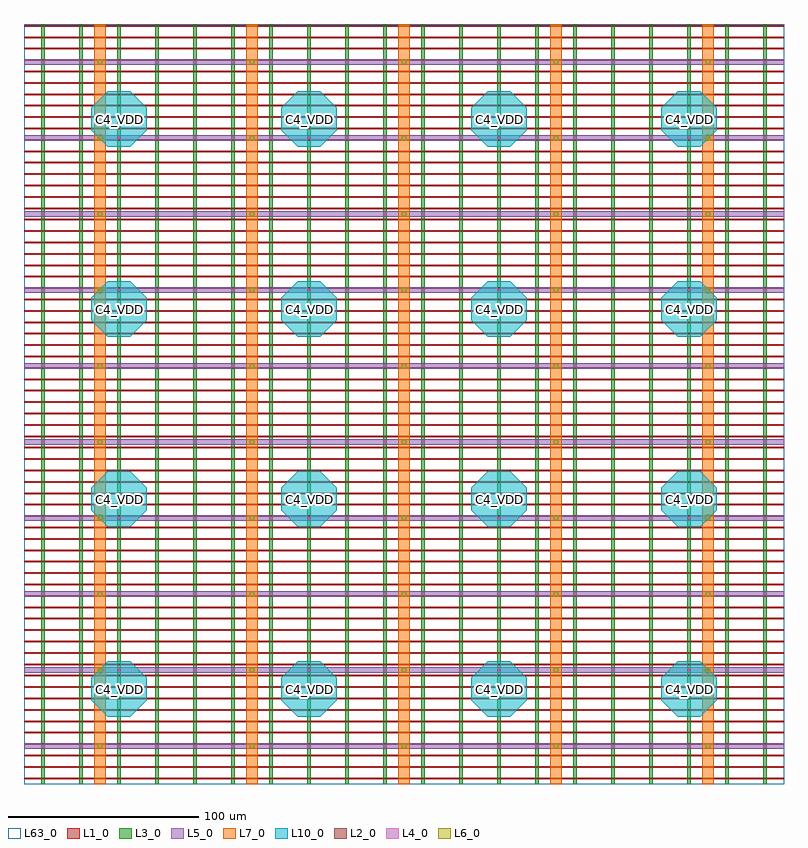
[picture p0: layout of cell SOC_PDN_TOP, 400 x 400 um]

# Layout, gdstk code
import gdstk
lib = gdstk.Library(unit=1e-6, precision=1e-09)
def R(c, l, rs):  # rectangles x0, y0, x1, y1
    for r in rs: c.add(gdstk.rectangle(r[:2], r[2:], *l))
def A(c, l, x, y, w, h, nx, ny, dx, dy):  # array of equal rectangles
    R(c, l, [(x+i*dx, y+j*dy, x+i*dx+w, y+j*dy+h) for i in range(nx) for j in range(ny)])
def P(c, l, *ps):  # polygons
    for p in ps: c.add(gdstk.Polygon(p, *l))
L1_0 = (1, 0)
L2_0 = (2, 0)
L3_0 = (3, 0)
L4_0 = (4, 0)
L5_0 = (5, 0)
L6_0 = (6, 0)
L7_0 = (7, 0)
L10_0 = (10, 0)
L63_0 = (63, 0)

soc_pdn_top = lib.new_cell('SOC_PDN_TOP')
A(soc_pdn_top, L1_0, 0, 2.6, 400, 0.8, 1, 67, 0, 6)
A(soc_pdn_top, L2_0, 9.6, 2.6, 0.8, 0.8, 20, 67, 20, 6)
A(soc_pdn_top, L3_0, 9.1, 0, 1.8, 400, 20, 1, 20, 0)
A(soc_pdn_top, L4_0, 9.3, 19.3, 1.4, 1.4, 20, 10, 20, 40)
A(soc_pdn_top, L5_0, 0, 18.5, 400, 3, 1, 10, 0, 40)
A(soc_pdn_top, L6_0, 38.8, 18.8, 2.4, 2.4, 5, 10, 80, 40)
A(soc_pdn_top, L7_0, 37, 0, 6, 400, 5, 1, 80, 0)
P(soc_pdn_top, L10_0, [(56,35.515),(64.485,44),(64.485,56),(56,64.485),(44,64.485),(35.515,56),(35.515,44),(44,35.515)],
  [(56,135.515),(64.485,144),(64.485,156),(56,164.485),(44,164.485),(35.515,156),(35.515,144),(44,135.515)],
  [(56,235.515),(64.485,244),(64.485,256),(56,264.485),(44,264.485),(35.515,256),(35.515,244),(44,235.515)],
  [(56,335.515),(64.485,344),(64.485,356),(56,364.485),(44,364.485),(35.515,356),(35.515,344),(44,335.515)],
  [(156,35.515),(164.485,44),(164.485,56),(156,64.485),(144,64.485),(135.515,56),(135.515,44),(144,35.515)],
  [(156,135.515),(164.485,144),(164.485,156),(156,164.485),(144,164.485),(135.515,156),(135.515,144),(144,135.515)],
  [(156,235.515),(164.485,244),(164.485,256),(156,264.485),(144,264.485),(135.515,256),(135.515,244),(144,235.515)],
  [(156,335.515),(164.485,344),(164.485,356),(156,364.485),(144,364.485),(135.515,356),(135.515,344),(144,335.515)],
  [(256,35.515),(264.485,44),(264.485,56),(256,64.485),(244,64.485),(235.515,56),(235.515,44),(244,35.515)],
  [(256,135.515),(264.485,144),(264.485,156),(256,164.485),(244,164.485),(235.515,156),(235.515,144),(244,135.515)],
  [(256,235.515),(264.485,244),(264.485,256),(256,264.485),(244,264.485),(235.515,256),(235.515,244),(244,235.515)],
  [(256,335.515),(264.485,344),(264.485,356),(256,364.485),(244,364.485),(235.515,356),(235.515,344),(244,335.515)],
  [(356,35.515),(364.485,44),(364.485,56),(356,64.485),(344,64.485),(335.515,56),(335.515,44),(344,35.515)],
  [(356,135.515),(364.485,144),(364.485,156),(356,164.485),(344,164.485),(335.515,156),(335.515,144),(344,135.515)],
  [(356,235.515),(364.485,244),(364.485,256),(356,264.485),(344,264.485),(335.515,256),(335.515,244),(344,235.515)],
  [(356,335.515),(364.485,344),(364.485,356),(356,364.485),(344,364.485),(335.515,356),(335.515,344),(344,335.515)])
R(soc_pdn_top, L63_0, [(0,0,400,400)])
soc_pdn_top.add(gdstk.Label('C4_VDD', (50,50), layer=10, texttype=0))
soc_pdn_top.add(gdstk.Label('C4_VDD', (50,150), layer=10, texttype=0))
soc_pdn_top.add(gdstk.Label('C4_VDD', (50,250), layer=10, texttype=0))
soc_pdn_top.add(gdstk.Label('C4_VDD', (50,350), layer=10, texttype=0))
soc_pdn_top.add(gdstk.Label('C4_VDD', (150,50), layer=10, texttype=0))
soc_pdn_top.add(gdstk.Label('C4_VDD', (150,150), layer=10, texttype=0))
soc_pdn_top.add(gdstk.Label('C4_VDD', (150,250), layer=10, texttype=0))
soc_pdn_top.add(gdstk.Label('C4_VDD', (150,350), layer=10, texttype=0))
soc_pdn_top.add(gdstk.Label('C4_VDD', (250,50), layer=10, texttype=0))
soc_pdn_top.add(gdstk.Label('C4_VDD', (250,150), layer=10, texttype=0))
soc_pdn_top.add(gdstk.Label('C4_VDD', (250,250), layer=10, texttype=0))
soc_pdn_top.add(gdstk.Label('C4_VDD', (250,350), layer=10, texttype=0))
soc_pdn_top.add(gdstk.Label('C4_VDD', (350,50), layer=10, texttype=0))
soc_pdn_top.add(gdstk.Label('C4_VDD', (350,150), layer=10, texttype=0))
soc_pdn_top.add(gdstk.Label('C4_VDD', (350,250), layer=10, texttype=0))
soc_pdn_top.add(gdstk.Label('C4_VDD', (350,350), layer=10, texttype=0))

lib.write_gds('SOC_PDN_TOP.gds')
